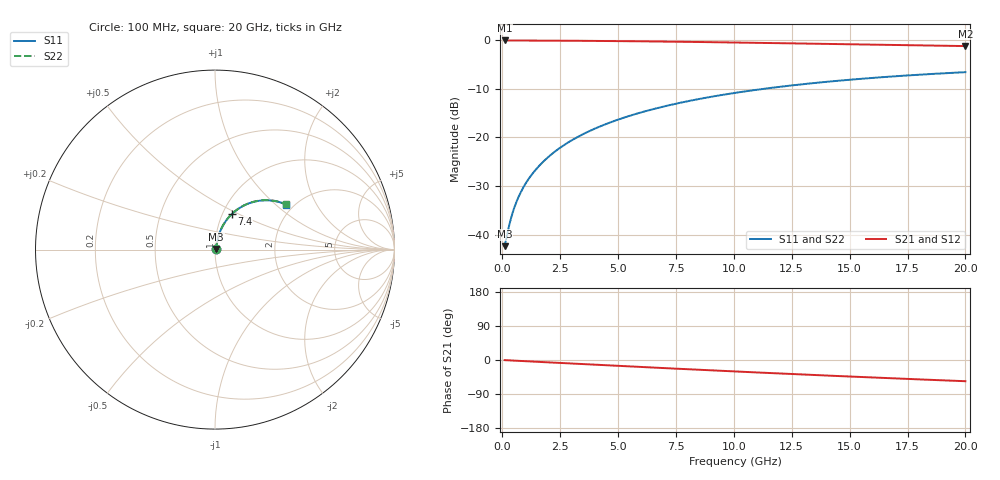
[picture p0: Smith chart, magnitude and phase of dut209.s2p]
! Touchstone file exported from HFSS 2026.1.0
!  File:  C:/ffzhzh/LocalFiles/Ansys_Project_Files/temp_train_BSMRDL_209_1782987863_42984.aedt
!  Generated:  06:25:54 PM Jul  2, 2026
!  Design:  BSMRDL
!  Project:  temp_train_BSMRDL_209_1782987863_42984
! Variables:
!  h_bsmrdl = 2.09um
!  h_ox = 20um
!  h_rdl = 5um
!  h_sub = 80um
!  h_tmrdl = 5um
!  h_tsv = 80um
!  h_via = 3um
!  l_bsmrdl = 859.03um
!  l_sub = 1259.03um
!  l_tmrdl = 200um
!  m_sub = 200um
!  pitch = 46.32um
!  r_tsv = 6um
!  s_tmrdl = 10um
!  w_bsmrdl = 22.15um
!  w_sub = 500um
!  w_tmrdl = 12um
!  x_tsv_center1 = 206um
!  x_tsv_center2 = 1087.18um
!  x_tsv_center3 = 1299.18um
!  x_tsv_center4 = 2180.36um
!  x_tsv_center5 = 2392.36um
!  x_tsv_center6 = 3273.54um
# GHz S MA R 50.000000
! Terminal data exported
! Port[1] = BSM_RDL1_1_T1
! Port[2] = BSM_RDL1_1_T2
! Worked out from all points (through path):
!   200 points, 100 MHz to 20 GHz, reference 50 ohm
!   highest |S21| = -0.06 dB at 100 MHz (marker M1); lowest = -1.2 dB at 20 GHz (marker M2)
!   group delay of S21, straight-line fit = 7.79 ps
!   lowest |S11| = -42.3 dB at 100 MHz (marker M3), VSWR 1.02, Z = 50.7 + j0.351 ohm
!   |S11| at or under -10 dB: start of sweep to 11.29 GHz
!   |S22| runs from -42.3 to -6.6 dB; largest |S21 - S12| = 4e-14
!   S11 on the Smith chart (normalised r, x): 100 MHz: 1.01, +0.01; 7.4 GHz: 1.11, +0.46; 20 GHz: 1.83, +1.17
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0.1  0.00764 26.9  0.9932 -0.3  0.9932 -0.3  0.00764 26.9
! Gamma 0 0 0 0
! Port Impedance 50 0 50 0
0.3  0.01257 54.2  0.9928 -1.0  0.9928 -1.0  0.01256 54.2
0.4  0.0155 60.1  0.9925 -1.3  0.9925 -1.3  0.0155 60.1
0.5  0.01848 63.9  0.9922 -1.6  0.9922 -1.6  0.01848 63.9
0.6  0.02147 66.5  0.9919 -1.9  0.9919 -1.9  0.02147 66.5
0.7  0.02446 68.4  0.9916 -2.3  0.9916 -2.3  0.02446 68.4
0.9  0.03042 71.1  0.9912 -2.9  0.9912 -2.9  0.03042 71.1
1.2  0.03937 73.4  0.9905 -3.8  0.9905 -3.8  0.03937 73.4
1.4  0.04536 74.3  0.9901 -4.4  0.9901 -4.4  0.04536 74.3
1.7  0.05438 75.1  0.9895 -5.3  0.9895 -5.3  0.05438 75.1
2.2  0.06946 75.5  0.9884 -6.9  0.9884 -6.9  0.06946 75.5
2.8  0.08754 75.1  0.9868 -8.7  0.9868 -8.7  0.08754 75.1
3.5  0.1085 74.0  0.9845 -10.9  0.9845 -10.9  0.1085 74.1
4.2  0.1293 72.6  0.9819 -13.0  0.9819 -13.0  0.1293 72.7
5  0.1526 70.8  0.9783 -15.4  0.9783 -15.4  0.1526 70.8
6.8  0.2034 66.2  0.9686 -20.8  0.9686 -20.8  0.2034 66.3
7.4  0.2197 64.6  0.9649 -22.6  0.9649 -22.6  0.2197 64.7
8.7  0.2538 61.1  0.9562 -26.4  0.9562 -26.4  0.2538 61.2
10.1  0.2885 57.3  0.946 -30.4  0.946 -30.4  0.2885 57.4
13.4  0.3613 48.6  0.92 -39.4  0.92 -39.4  0.3613 48.7
16.7  0.4214 40.2  0.8937 -47.9  0.8937 -47.9  0.4213 40.4
20  0.4691 32.3  0.8695 -56.0  0.8695 -56.0  0.4691 32.6
